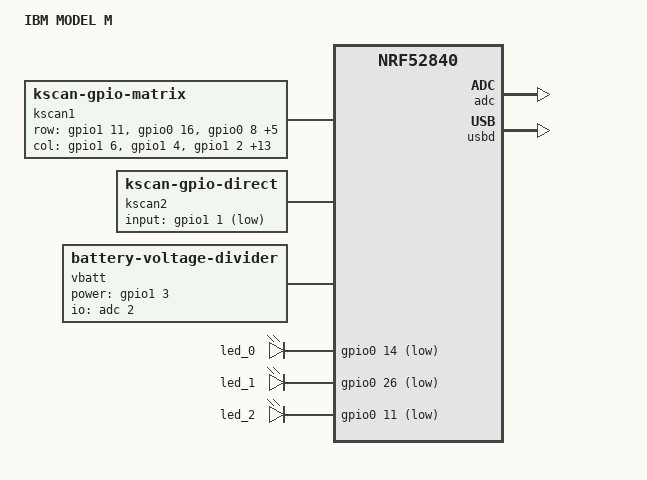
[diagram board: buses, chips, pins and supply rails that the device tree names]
/*
* Copyright (c) 2023 The ZMK Contributers
* SPDX-Licencse-Identifier: MIT
*/

/dts-v1/;
#include <nordic/nrf52840_qiaa.dtsi>
#include <dt-bindings/zmk/matrix_transform.h>
#include "nrf52840_ansi101.dtsi"
#include "nrf52840_iso102.dtsi"
#include "nrf52840_ansi84.dtsi"
#include "nrf52840_iso85.dtsi"
#include "nrf52840_posmap.dtsi"

/ {
    model = "IBM MODEL M";
    compatible = "ibm,101";

    chosen {
        zephyr,code-partition = &code_partition;
        zephyr,sram = &sram0;
        zephyr,flash = &flash0;
        zephyr,console = &cdc_acm_uart;
        zmk,studio-rpc-uart = &studio_rpc_uart;
        zmk,battery = &vbatt;
        zmk,physical-layout = &iso102_ph_layout;
    };

    // Combine matrix and direct GPIO to integrate DFU button neat the USB connector
    unified_kscan: kscan_composite {
        compatible = "zmk,kscan-composite";
        columns = <17>;
        rows = <8>;
        wakeup-source;

        // Include the matrix driver
        matrix {
            kscan = <&kscan1>;
        };

        // Include the direct GPIO driver...
        direct {
            kscan = <&kscan2>;
            col-offset = <16>;
        };
    };

    kscan1: kscan_matrix {
        compatible = "zmk,kscan-gpio-matrix";
        diode-direction = "row2col";
        wakeup-source;
        row-gpios
            = <&gpio1 11 (GPIO_OPEN_SOURCE)> // R0
            , <&gpio0 16 (GPIO_OPEN_SOURCE)> // R1
            , <&gpio0 8  (GPIO_OPEN_SOURCE)> // R2
            , <&gpio0 6  (GPIO_OPEN_SOURCE)> // R3
            , <&gpio1 9  (GPIO_OPEN_SOURCE)> // R4
            , <&gpio0 12 (GPIO_OPEN_SOURCE)> // R5
            , <&gpio0 19 (GPIO_OPEN_SOURCE)> // R6
            , <&gpio0 21 (GPIO_OPEN_SOURCE)> // R7
            ;
        col-gpios
            = <&gpio1 6  (GPIO_ACTIVE_HIGH | GPIO_PULL_DOWN)> // C0
            , <&gpio1 4  (GPIO_ACTIVE_HIGH | GPIO_PULL_DOWN)> // C1
            , <&gpio1 2  (GPIO_ACTIVE_HIGH | GPIO_PULL_DOWN)> // C2
            , <&gpio1 0  (GPIO_ACTIVE_HIGH | GPIO_PULL_DOWN)> // C3
            , <&gpio0 24 (GPIO_ACTIVE_HIGH | GPIO_PULL_DOWN)> // C4
            , <&gpio0 22 (GPIO_ACTIVE_HIGH | GPIO_PULL_DOWN)> // C5
            , <&gpio0 20 (GPIO_ACTIVE_HIGH | GPIO_PULL_DOWN)> // C6
            , <&gpio0 17 (GPIO_ACTIVE_HIGH | GPIO_PULL_DOWN)> // C7
            , <&gpio1 7  (GPIO_ACTIVE_HIGH | GPIO_PULL_DOWN)> // C8
            , <&gpio0 25 (GPIO_ACTIVE_HIGH | GPIO_PULL_DOWN)> // C9
            , <&gpio0 15 (GPIO_ACTIVE_HIGH | GPIO_PULL_DOWN)> // C10
            , <&gpio0 10 (GPIO_ACTIVE_HIGH | GPIO_PULL_DOWN)> // C11
            , <&gpio0 9  (GPIO_ACTIVE_HIGH | GPIO_PULL_DOWN)> // C12
            , <&gpio1 5  (GPIO_ACTIVE_HIGH | GPIO_PULL_DOWN)> // C13
            , <&gpio0 13 (GPIO_ACTIVE_HIGH | GPIO_PULL_DOWN)> // C14
            , <&gpio0 23 (GPIO_ACTIVE_HIGH | GPIO_PULL_DOWN)> // C15
            ;
    };

    kscan2: kscan_direct {
        compatible = "zmk,kscan-gpio-direct";
        // DFU button is on P1.01 GPIO-direct pin active-low, pull high
        input-gpios
            = <&gpio1 1 (GPIO_ACTIVE_LOW | GPIO_PULL_UP)> // DFU
            ;
        /*
         * A direct pin defined in the input-gpios property is considered a column
         * when used in a matrix transform; e.g. the 5th pin on the list can be referred to using RC(0,4).
         */
    };

    vbatt: vbatt {
        //compatible = "zmk,battery-nrf-vddh";
        compatible = "zmk,battery-voltage-divider";
        io-channels = <&adc 2>;
        output-ohms = <2150000>;
        full-ohms = <(2150000 + 806000)>;
        power-gpios = <&gpio1 3 GPIO_ACTIVE_HIGH>;
    };

    aliases {
		led-caps = &led_0;
		led-num = &led_1;
        /* Use led_2 as BLE/Battery blink indicator instead */
		//led-scroll = &led_2;
        led-indicator = &led_2;
    };

    leds {
        compatible = "gpio-leds";
        status = "okay";
        led_0: led_0 {
            gpios = <&gpio0 14 GPIO_ACTIVE_LOW>;
        };
        led_1: led_1 {
            gpios = <&gpio0 26 GPIO_ACTIVE_LOW>;
        };
        led_2: led_2 {
            gpios = <&gpio0 11 GPIO_ACTIVE_LOW>;
        };
    };
};

&adc {
    status = "okay";
};

&gpiote {
    status = "okay";
};

&gpio0 {
    status = "okay";
};

&gpio1 {
    status = "okay";
};

zephyr_udc0: &usbd {
    status = "okay";
    studio_rpc_uart: studio_rpc_uart {
        compatible = "zephyr,cdc-acm-uart";
    };
    cdc_acm_uart: cdc_acm_uart {
        compatible = "zephyr,cdc-acm-uart";
    };
};

/* CONFIG_GPIO_AS_PINRESET is deprecated use this instead */
&uicr {
    gpio-as-nreset;
};

&flash0 {
    /*
     * For more information, see:
     * http://docs.zephyrproject.org/latest/devices/dts/flash_partitions.html
     */
    partitions {
        compatible = "fixed-partitions";
        #address-cells = <1>;
        #size-cells = <1>;

        sd_partition: partition@0 {
            reg = <0x00000000 0x00026000>;
        };

        code_partition: partition@26000 {
            reg = <0x00026000 0x000ae000>;
        };

        /*
         * The flash starting at 0x000d4000 and ending at
         * 0x000f3fff is reserved for use by the application.
         */

        /*
         * Storage partition will be used by FCB/LittleFS/NVS
         * if enabled.
         */
        storage_partition: partition@d4000 {
            reg = <0x000d4000 0x00020000>;
        };

        boot_partition: partition@f4000 {
            reg = <0x000f4000 0x0000c000>;
        };
    };
};
